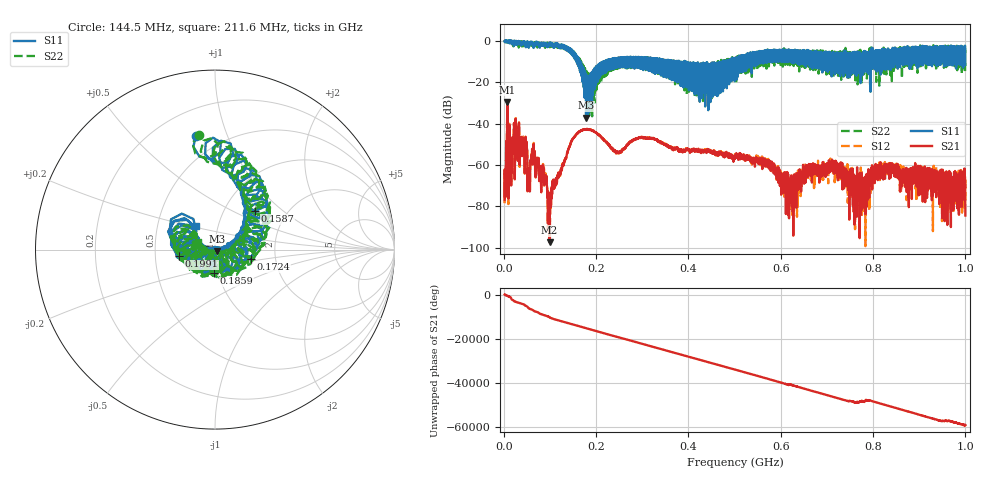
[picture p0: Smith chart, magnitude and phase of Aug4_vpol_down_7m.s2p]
!Keysight Technologies N9923A: A.12.45
!Date: Tuesday, 05 August 2025 20:26:32
!Timezone: (UTC+08:00) Kuala Lumpur, Singapore
!Model: N9923A
!Serial: MY61181427
!GPS Latitude:
!GPS Longitude:
!GPS TimeStamp: 0001-01-01 00:00:00Z
!GPS Seconds Since Last Read: 0
!CHECKSUM:0677095597
!Correction: S11(ON U)S21(ON U)S12(ON U)S22(ON U)
!S2P File: Measurements:S11,S21,S12,S22:
# Hz S DB R 50
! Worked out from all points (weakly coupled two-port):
!   4001 points, 2 MHz to 1 GHz, reference 50 ohm
!   highest |S21| = -29.60 dB at 7.988 MHz (marker M1); lowest = -97.3 dB at 99.31 MHz (marker M2)
!   lowest |S11| = -37.1 dB at 178.4 MHz (marker M3), VSWR 1.03, Z = 51.1 - j0.839 ohm
!   |S11| at or under -10 dB: 166 MHz to 215.6 MHz (49.55 MHz wide, 26 % of centre); 380.3 MHz to 391.9 MHz (11.56 MHz wide, 2.99 % of centre); 393.7 MHz to 475.5 MHz (81.79 MHz wide, 18.8 % of centre)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
!   |S22| runs from -36.5 to 0.1 dB; largest |S21 - S12| = 0.001
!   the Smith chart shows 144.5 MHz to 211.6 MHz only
!   S11 on the Smith chart (normalised r, x): 144.5 MHz: 0.36, +0.78; 158.7 MHz: 1.39, +0.66; 172.4 MHz: 1.49, -0.16; 185.9 MHz: 0.96, -0.26; 199.1 MHz: 0.67, -0.05; 211.6 MHz: 0.79, +0.21
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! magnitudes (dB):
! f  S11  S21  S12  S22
! 2 MHz  -0.1  -76.9  -78.5  -0.1
! 7.988 MHz  -0.4  -29.6  -29.6  -0.8
! 45.41 MHz  -0.6  -61.0  -59.7  -0.5
! 55.14 MHz  -1.6  -70.8  -70.7  -1.1
! 62.88 MHz  -2.1  -59.8  -59.2  -1.9
! 99.31 MHz  -1.1  -97.3  -83.1  -1.7
! 144.5 MHz  -3.8  -50.2  -49.9  -3.8
! 158.7 MHz  -10.2  -44.8  -44.9  -9.9
! 168.4 MHz  -17.0  -43.3  -43.3  -14.5
! 172.4 MHz  -13.6  -43.0  -42.9  -13.2
! 178.4 MHz  -37.1  -42.8  -42.7  -21.3
! 185.9 MHz  -17.6  -43.0  -42.9  -16.1
! 199.1 MHz  -13.9  -44.3  -44.1  -14.2
! 211.6 MHz  -15.5  -46.6  -46.5  -19.9
! 334.8 MHz  -8.8  -48.6  -48.2  -10.5
! 501 MHz  -8.4  -56.3  -54.7  -9.0
! 570.9 MHz  -8.2  -58.2  -60.3  -9.4
! 620.8 MHz  -7.9  -71.6  -80.9  -5.4
! 667.4 MHz  -5.3  -61.2  -60.3  -7.5
! 780.9 MHz  -13.1  -77.8  -76.6  -5.1
! 833.8 MHz  -6.1  -64.5  -59.2  -13.4
! 1 GHz  -11.6  -84.4  -66.2  -4.0
